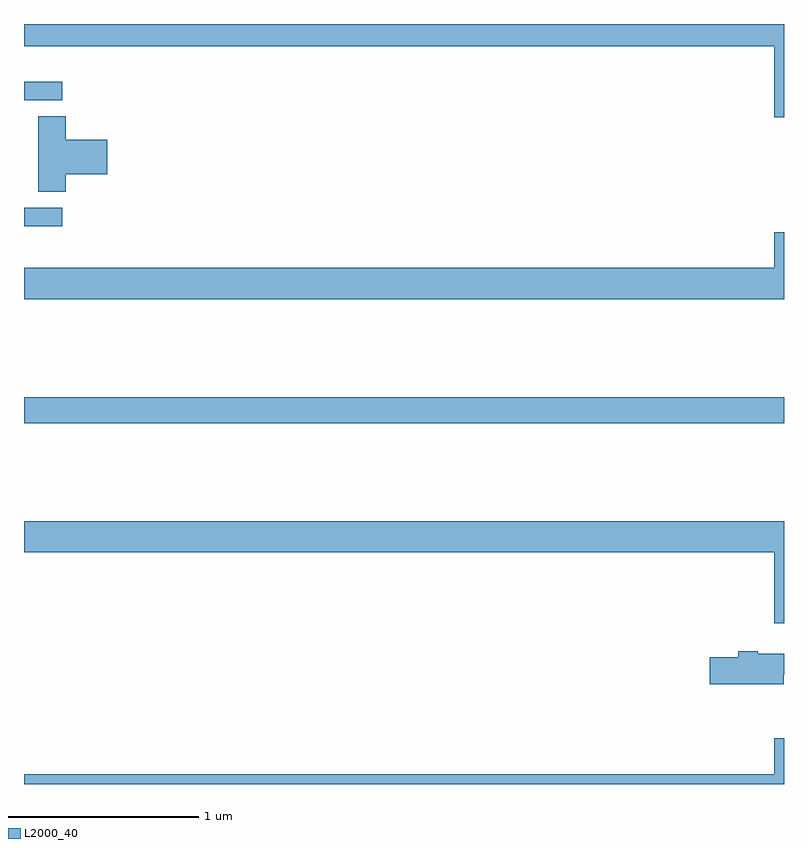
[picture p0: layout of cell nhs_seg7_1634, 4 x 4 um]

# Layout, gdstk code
import gdstk
lib = gdstk.Library(unit=1e-6, precision=1e-09)
def R(c, l, rs):  # rectangles x0, y0, x1, y1
    for r in rs: c.add(gdstk.rectangle(r[:2], r[2:], *l))
def P(c, l, *ps):  # polygons
    for p in ps: c.add(gdstk.Polygon(p, *l))
L2000_40 = (2000, 40)

nhs_seg7_1634 = lib.new_cell('nhs_seg7_1634')
R(nhs_seg7_1634, L2000_40, [(221,1063.9,225,1064.036), (221,1064.935,221.2,1065.033), (221,1065.6,221.2,1065.696)])
P(nhs_seg7_1634, L2000_40, [(225,1066),(221,1066),(221,1065.884),(224.948,1065.884),(224.948,1065.51),(225,1065.51)],
  [(221.219,1065.209),(221.437,1065.209),(221.437,1065.392),(221.219,1065.392),(221.219,1065.515),(221.075,1065.515),(221.075,1065.118),(221.219,1065.118)],
  [(225,1064.905),(224.948,1064.905),(224.948,1064.716),(221,1064.716),(221,1064.552),(225,1064.552)],
  [(225,1063.384),(221,1063.384),(221,1063.22),(224.948,1063.22),(224.948,1062.846),(225,1062.846)],
  [(224.998,1062.576),(225,1062.576),(225,1062.685),(224.863,1062.685),(224.863,1062.698),(224.759,1062.698),(224.759,1062.668),(224.61,1062.668),(224.61,1062.526),(224.998,1062.526)],
  [(225,1062.241),(224.948,1062.241),(224.948,1062.052),(221,1062.052),(221,1062),(225,1062)])

lib.write_gds('nhs_seg7_1634.gds')
